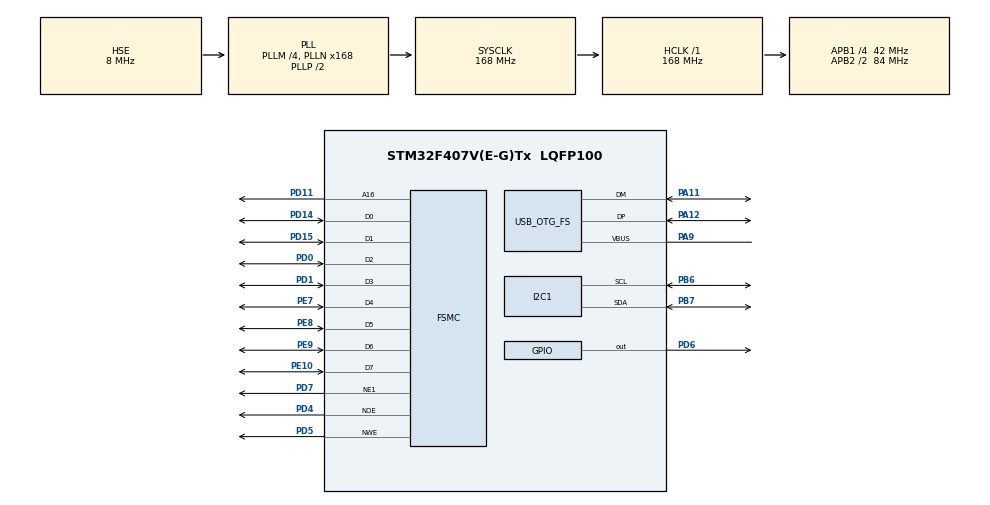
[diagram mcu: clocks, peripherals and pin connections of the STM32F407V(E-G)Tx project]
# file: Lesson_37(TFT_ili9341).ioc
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FATFS._MAX_SS=4096
FSMC.AddressSetupTime1=2
FSMC.DataSetupTime1=15
FSMC.ExtendedAddressSetupTime1=2
FSMC.ExtendedBusTurnAroundDuration1=3
FSMC.ExtendedDataSetupTime1=3
FSMC.ExtendedMode1=FSMC_EXTENDED_MODE_ENABLE
Mcu.Family=STM32F4
Mcu.Name=STM32F407V(E-G)Tx
Mcu.Package=LQFP100
NVIC.OTG_FS_IRQn=true\:0\:0\:false\:false\:true
NVIC.PriorityGroup=NVIC_PRIORITYGROUP_4
PA11.Mode=Host_Only
PA11.Signal=USB_OTG_FS_DM
PA12.Mode=Host_Only
PA12.Signal=USB_OTG_FS_DP
PA9.Mode=Activate_VBUS
PA9.Signal=USB_OTG_FS_VBUS
PB6.Mode=I2C
PB6.Signal=I2C1_SCL
PB7.Mode=I2C
PB7.Signal=I2C1_SDA
PD0.Mode=8b-d1
PD0.Signal=FSMC_D2
PD1.Mode=8b-d1
PD1.Signal=FSMC_D3
PD11.Mode=A16_1
PD11.Signal=FSMC_A16
PD14.Mode=8b-d1
PD14.Signal=FSMC_D0
PD15.Mode=8b-d1
PD15.Signal=FSMC_D1
PD4.Mode=Lcd1
PD4.Signal=FSMC_NOE
PD5.Mode=Lcd1
PD5.Signal=FSMC_NWE
PD6.Signal=GPIO_Output
PD7.Mode=NorPsramChipSelect1_1
PD7.Signal=FSMC_NE1
PE10.Mode=8b-d1
PE10.Signal=FSMC_D7
PE7.Mode=8b-d1
PE7.Signal=FSMC_D4
PE8.Mode=8b-d1
PE8.Signal=FSMC_D5
PE9.Mode=8b-d1
PE9.Signal=FSMC_D6
PH0-OSC_IN.Mode=HSE-External-Oscillator
PH0-OSC_IN.Signal=RCC_OSC_IN
PH1-OSC_OUT.Mode=HSE-External-Oscillator
PH1-OSC_OUT.Signal=RCC_OSC_OUT
ProjectManager.HeapSize=0x200
ProjectManager.StackSize=0x400
ProjectManager.TargetToolchain=MDK-ARM V5
RCC.48MHZClocksFreq_Value=48000000
RCC.AHBFreq_Value=168000000
RCC.APB1CLKDivider=RCC_HCLK_DIV4
RCC.APB1Freq_Value=42000000
RCC.APB1TimFreq_Value=84000000
RCC.APB2CLKDivider=RCC_HCLK_DIV2
RCC.APB2Freq_Value=84000000
RCC.APB2TimFreq_Value=168000000
RCC.CortexFreq_Value=168000000
RCC.HCLKFreq_Value=168000000
RCC.HSE_VALUE=8000000
RCC.HSI_VALUE=16000000
RCC.LSE_VALUE=32768
RCC.PLLM=4
RCC.PLLN=168
RCC.PLLQ=7
RCC.SYSCLKFreq_VALUE=168000000
RCC.SYSCLKSource=RCC_SYSCLKSOURCE_PLLCLK
RCC.VCOOutputFreq_Value=336000000
USB_HOST.USBH_HandleTypeDef-MSC_FS=hUsbHostFS
USB_HOST.VirtualModeFS=Msc
USB_OTG_FS.phy_itface=HCD_PHY_EMBEDDED
VP_FATFS_VS_USB.Mode=USB
VP_RNG_VS_RNG.Mode=RNG_Activate
VP_USB_HOST_VS_USB_HOST_MSC_FS.Mode=MSC_FS
board=Lesson_37(TFT_ili9341)

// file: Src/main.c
/**
  ******************************************************************************
  * File Name          : main.c
  * Description        : Main program body
  ******************************************************************************
  *
  * Copyright (c) 2017 STMicroelectronics International N.V.
  * All rights reserved.
  *
  * Redistribution and use in source and binary forms, with or without
  * modification, are permitted, provided that the following conditions are met:
  *
  * 1. Redistribution of source code must retain the above copyright notice,
  *    this list of conditions and the following disclaimer.
  * 2. Redistributions in binary form must reproduce the above copyright notice,
  *    this list of conditions and the following disclaimer in the documentation
  *    and/or other materials provided with the distribution.
  * 3. Neither the name of STMicroelectronics nor the names of other
  *    contributors to this software may be used to endorse or promote products
  *    derived from this software without specific written permission.
  * 4. This software, including modifications and/or derivative works of this
  *    software, must execute solely and exclusively on microcontroller or
  *    microprocessor devices manufactured by or for STMicroelectronics.
  * 5. Redistribution and use of this software other than as permitted under
  *    this license is void and will automatically terminate your rights under
  *    this license.
  *
  * THIS SOFTWARE IS PROVIDED BY STMICROELECTRONICS AND CONTRIBUTORS "AS IS"
  * AND ANY EXPRESS, IMPLIED OR STATUTORY WARRANTIES, INCLUDING, BUT NOT
  * LIMITED TO, THE IMPLIED WARRANTIES OF MERCHANTABILITY, FITNESS FOR A
  * PARTICULAR PURPOSE AND NON-INFRINGEMENT OF THIRD PARTY INTELLECTUAL PROPERTY
  * RIGHTS ARE DISCLAIMED TO THE FULLEST EXTENT PERMITTED BY LAW. IN NO EVENT
  * SHALL STMICROELECTRONICS OR CONTRIBUTORS BE LIABLE FOR ANY DIRECT, INDIRECT,
  * INCIDENTAL, SPECIAL, EXEMPLARY, OR CONSEQUENTIAL DAMAGES (INCLUDING, BUT NOT
  * LIMITED TO, PROCUREMENT OF SUBSTITUTE GOODS OR SERVICES; LOSS OF USE, DATA,
  * OR PROFITS; OR BUSINESS INTERRUPTION) HOWEVER CAUSED AND ON ANY THEORY OF
  * LIABILITY, WHETHER IN CONTRACT, STRICT LIABILITY, OR TORT (INCLUDING
  * NEGLIGENCE OR OTHERWISE) ARISING IN ANY WAY OUT OF THE USE OF THIS SOFTWARE,
  * EVEN IF ADVISED OF THE POSSIBILITY OF SUCH DAMAGE.
  *
  ******************************************************************************
  */
#include "main.h"
#include "stm32f4xx_hal.h"
#include "fatfs.h"
#include "usb_host.h"

/* USER CODE BEGIN Includes */
uint16_t i,j;
/* USER CODE END Includes */

I2C_HandleTypeDef hi2c1;

RNG_HandleTypeDef hrng;

SRAM_HandleTypeDef hsram1;

/* USER CODE BEGIN PV */
/* Private variables ---------------------------------------------------------*/
extern ApplicationTypeDef Appli_state;
FATFS USBDISKFatFs;           /* File system object for USB disk logical drive */
FIL MyFile;                   /* File object */
extern USBH_HandleTypeDef hUsbHostFS;
/* USER CODE END PV */

void SystemClock_Config(void);
void Error_Handler(void);
static void MX_GPIO_Init(void);
static void MX_FSMC_Init(void);
static void MX_I2C1_Init(void);
static void MX_RNG_Init(void);
void MX_USB_HOST_Process(void);

/* USER CODE BEGIN PFP */
/* Private function prototypes -----------------------------------------------*/

/* USER CODE END PFP */

/* USER CODE BEGIN 0 */
__STATIC_INLINE void DelayMicro(__IO uint32_t micros)
{
        micros *=(SystemCoreClock / 1000000) / 5;
        while (micros--);
}

void FileReadWrite(void)
{
	FRESULT res;
	uint32_t byteswritten, bytesread;
	uint8_t rtext[100];
	//uint8_t wtext[]="Hello from STM32!!!!!!";

	//+++++++++++++++++++++++++++++++++++++++++++++++++++++++++++++++++++++++
	//Read
	if(f_mount(&USBDISKFatFs,(TCHAR const*)USBH_Path,0)!=FR_OK)
	{
		//HAL_GPIO_WritePin(GPIOD,GPIO_PIN_12,GPIO_PIN_SET);
		Error_Handler();
	}
	else
	{

	}

}
/* USER CODE END 0 */

//-----------------------------------
int main(void)
{

  /* USER CODE BEGIN 1 */
   uint16_t i;
  /* USER CODE END 1 */

  /* MCU Configuration----------------------------------------------------------*/

  /* Reset of all peripherals, Initializes the Flash interface and the Systick. */
  HAL_Init();

  /* Configure the system clock */
  SystemClock_Config();

  /* Initialize all configured peripherals */
  MX_GPIO_Init();
  MX_FSMC_Init();
  MX_I2C1_Init();
  MX_RNG_Init();
  MX_FATFS_Init();
  MX_USB_HOST_Init();

  /* USER CODE BEGIN 2 */
LCD_ini();
LCD_clear();
TFT9341_ini();
TFT9341_FillScreen(RED);
  /* USER CODE END 2 */
for(i=0;i<20;i++)
        {
                TFT9341_FillScreen(TFT9341_RandColor());
                HAL_Delay(150);
        }
        TFT9341_FillScreen(BLACK);
        HAL_Delay(500);

				 for(i=0;i<20;i++)
        {
                 TFT9341_FillRectangle(TFT9341_RandColor(),0,0,119,159);
                 HAL_Delay(100);
                 TFT9341_FillRectangle(TFT9341_RandColor(),120,0,239,159);
                 HAL_Delay(100);
                 TFT9341_FillRectangle(TFT9341_RandColor(),0,160,119,319);
                 HAL_Delay(100);
                 TFT9341_FillRectangle(TFT9341_RandColor(),120,160,239,319);
                 HAL_Delay(100);
         }
        HAL_Delay(500);
         TFT9341_FillScreen(BLACK);

				 for(i=0;i<15000;i++)
         {
                 TFT9341_DrawPixel(HAL_RNG_GetRandomNumber(&hrng)%240,HAL_RNG_GetRandomNumber(&hrng)%320,TFT9341_RandColor());
                 DelayMicro(100);
         }
        HAL_Delay(500);
        TFT9341_FillScreen(BLACK);

				  for(j=0;j<20;j++)
        {
                for(i=0;i<240;i++)
                {
                                        TFT9341_DrawLine(TFT9341_RandColor(),i,0,i,319);
                }
                HAL_Delay(100);
        }
        HAL_Delay(500);
        TFT9341_FillScreen(BLACK);

				for(i=0;i<1000;i++)
        {
                TFT9341_DrawLine(TFT9341_RandColor(),HAL_RNG_GetRandomNumber(&hrng)%240,
                                HAL_RNG_GetRandomNumber(&hrng)%320,HAL_RNG_GetRandomNumber(&hrng)%240,
                                HAL_RNG_GetRandomNumber(&hrng)%320);
                 HAL_Delay(1);
        }
        HAL_Delay(1000);
        TFT9341_FillScreen(BLACK);

				for(j=0;j<20;j++)
        {
                for(i=0;i<120;i++)
                {
                        TFT9341_DrawRect(TFT9341_RandColor(),i,i,239-i,319-i);
                }
                HAL_Delay(100);
                if(j<19)TFT9341_FillScreen(BLACK);
        }
        HAL_Delay(1000);
         TFT9341_FillScreen(BLACK);

				 for(i=0;i<2000;i++)
        {
                TFT9341_DrawCircle(HAL_RNG_GetRandomNumber(&hrng)%200+20,
                HAL_RNG_GetRandomNumber(&hrng)%280+20, 20,
                                                          TFT9341_RandColor());
        }
        HAL_Delay(1000);

				HAL_Delay(150);
        TFT9341_FontsIni();
  /* Infinite loop */
  while (1)
  {
    MX_USB_HOST_Process();

  }

}

/** System Clock Configuration
*/
void SystemClock_Config(void)
{

  RCC_OscInitTypeDef RCC_OscInitStruct;
  RCC_ClkInitTypeDef RCC_ClkInitStruct;

    /**Configure the main internal regulator output voltage
    */
  __HAL_RCC_PWR_CLK_ENABLE();

  __HAL_PWR_VOLTAGESCALING_CONFIG(PWR_REGULATOR_VOLTAGE_SCALE1);

    /**Initializes the CPU, AHB and APB busses clocks
    */
  RCC_OscInitStruct.OscillatorType = RCC_OSCILLATORTYPE_HSE;
  RCC_OscInitStruct.HSEState = RCC_HSE_ON;
  RCC_OscInitStruct.PLL.PLLState = RCC_PLL_ON;
  RCC_OscInitStruct.PLL.PLLSource = RCC_PLLSOURCE_HSE;
  RCC_OscInitStruct.PLL.PLLM = 4;
  RCC_OscInitStruct.PLL.PLLN = 168;
  RCC_OscInitStruct.PLL.PLLP = RCC_PLLP_DIV2;
  RCC_OscInitStruct.PLL.PLLQ = 7;
  if (HAL_RCC_OscConfig(&RCC_OscInitStruct) != HAL_OK)
  {
    Error_Handler();
  }

    /**Initializes the CPU, AHB and APB busses clocks
    */
  RCC_ClkInitStruct.ClockType = RCC_CLOCKTYPE_HCLK|RCC_CLOCKTYPE_SYSCLK
                              |RCC_CLOCKTYPE_PCLK1|RCC_CLOCKTYPE_PCLK2;
  RCC_ClkInitStruct.SYSCLKSource = RCC_SYSCLKSOURCE_PLLCLK;
  RCC_ClkInitStruct.AHBCLKDivider = RCC_SYSCLK_DIV1;
  RCC_ClkInitStruct.APB1CLKDivider = RCC_HCLK_DIV4;
  RCC_ClkInitStruct.APB2CLKDivider = RCC_HCLK_DIV2;

  if (HAL_RCC_ClockConfig(&RCC_ClkInitStruct, FLASH_LATENCY_5) != HAL_OK)
  {
    Error_Handler();
  }

    /**Configure the Systick interrupt time
    */
  HAL_SYSTICK_Config(HAL_RCC_GetHCLKFreq()/1000);

    /**Configure the Systick
    */
  HAL_SYSTICK_CLKSourceConfig(SYSTICK_CLKSOURCE_HCLK);

  /* SysTick_IRQn interrupt configuration */
  HAL_NVIC_SetPriority(SysTick_IRQn, 0, 0);
}

/* I2C1 init function */
static void MX_I2C1_Init(void)
{

  hi2c1.Instance = I2C1;
  hi2c1.Init.ClockSpeed = 100000;
  hi2c1.Init.DutyCycle = I2C_DUTYCYCLE_2;
  hi2c1.Init.OwnAddress1 = 0;
  hi2c1.Init.AddressingMode = I2C_ADDRESSINGMODE_7BIT;
  hi2c1.Init.DualAddressMode = I2C_DUALADDRESS_DISABLE;
  hi2c1.Init.OwnAddress2 = 0;
  hi2c1.Init.GeneralCallMode = I2C_GENERALCALL_DISABLE;
  hi2c1.Init.NoStretchMode = I2C_NOSTRETCH_DISABLE;
  if (HAL_I2C_Init(&hi2c1) != HAL_OK)
  {
    Error_Handler();
  }

}

/* RNG init function */
static void MX_RNG_Init(void)
{

  hrng.Instance = RNG;
  if (HAL_RNG_Init(&hrng) != HAL_OK)
  {
    Error_Handler();
  }

}

/** Configure pins as
        * Analog
        * Input
        * Output
        * EVENT_OUT
        * EXTI
*/
static void MX_GPIO_Init(void)
{

  GPIO_InitTypeDef GPIO_InitStruct;

  /* GPIO Ports Clock Enable */
  __HAL_RCC_GPIOH_CLK_ENABLE();
  __HAL_RCC_GPIOE_CLK_ENABLE();
  __HAL_RCC_GPIOD_CLK_ENABLE();
  __HAL_RCC_GPIOA_CLK_ENABLE();
  __HAL_RCC_GPIOB_CLK_ENABLE();

  /*Configure GPIO pin Output Level */
  HAL_GPIO_WritePin(GPIOD, GPIO_PIN_6, GPIO_PIN_RESET);

  /*Configure GPIO pin : PD6 */
  GPIO_InitStruct.Pin = GPIO_PIN_6;
  GPIO_InitStruct.Mode = GPIO_MODE_OUTPUT_PP;
  GPIO_InitStruct.Pull = GPIO_NOPULL;
  GPIO_InitStruct.Speed = GPIO_SPEED_FREQ_LOW;
  HAL_GPIO_Init(GPIOD, &GPIO_InitStruct);

}

/* FSMC initialization function */
static void MX_FSMC_Init(void)
{
  FSMC_NORSRAM_TimingTypeDef Timing;
  FSMC_NORSRAM_TimingTypeDef ExtTiming;

  /** Perform the SRAM1 memory initialization sequence
  */
  hsram1.Instance = FSMC_NORSRAM_DEVICE;
  hsram1.Extended = FSMC_NORSRAM_EXTENDED_DEVICE;
  /* hsram1.Init */
  hsram1.Init.NSBank = FSMC_NORSRAM_BANK1;
  hsram1.Init.DataAddressMux = FSMC_DATA_ADDRESS_MUX_DISABLE;
  hsram1.Init.MemoryType = FSMC_MEMORY_TYPE_SRAM;
  hsram1.Init.MemoryDataWidth = FSMC_NORSRAM_MEM_BUS_WIDTH_8;
  hsram1.Init.BurstAccessMode = FSMC_BURST_ACCESS_MODE_DISABLE;
  hsram1.Init.WaitSignalPolarity = FSMC_WAIT_SIGNAL_POLARITY_LOW;
  hsram1.Init.WrapMode = FSMC_WRAP_MODE_DISABLE;
  hsram1.Init.WaitSignalActive = FSMC_WAIT_TIMING_BEFORE_WS;
  hsram1.Init.WriteOperation = FSMC_WRITE_OPERATION_ENABLE;
  hsram1.Init.WaitSignal = FSMC_WAIT_SIGNAL_DISABLE;
  hsram1.Init.ExtendedMode = FSMC_EXTENDED_MODE_ENABLE;
  hsram1.Init.AsynchronousWait = FSMC_ASYNCHRONOUS_WAIT_DISABLE;
  hsram1.Init.WriteBurst = FSMC_WRITE_BURST_DISABLE;
  hsram1.Init.PageSize = FSMC_PAGE_SIZE_NONE;
  /* Timing */
  Timing.AddressSetupTime = 2;
  Timing.AddressHoldTime = 15;
  Timing.DataSetupTime = 15;
  Timing.BusTurnAroundDuration = 15;
  Timing.CLKDivision = 16;
  Timing.DataLatency = 17;
  Timing.AccessMode = FSMC_ACCESS_MODE_A;
  /* ExtTiming */
  ExtTiming.AddressSetupTime = 2;
  ExtTiming.AddressHoldTime = 15;
  ExtTiming.DataSetupTime = 3;
  ExtTiming.BusTurnAroundDuration = 3;
  ExtTiming.CLKDivision = 16;
  ExtTiming.DataLatency = 17;
  ExtTiming.AccessMode = FSMC_ACCESS_MODE_A;

  if (HAL_SRAM_Init(&hsram1, &Timing, &ExtTiming) != HAL_OK)
  {
    Error_Handler();
  }

}

void Error_Handler(void)
{
  while(1)
  {
  }
}

/************************ (C) COPYRIGHT STMicroelectronics *****END OF FILE****/
